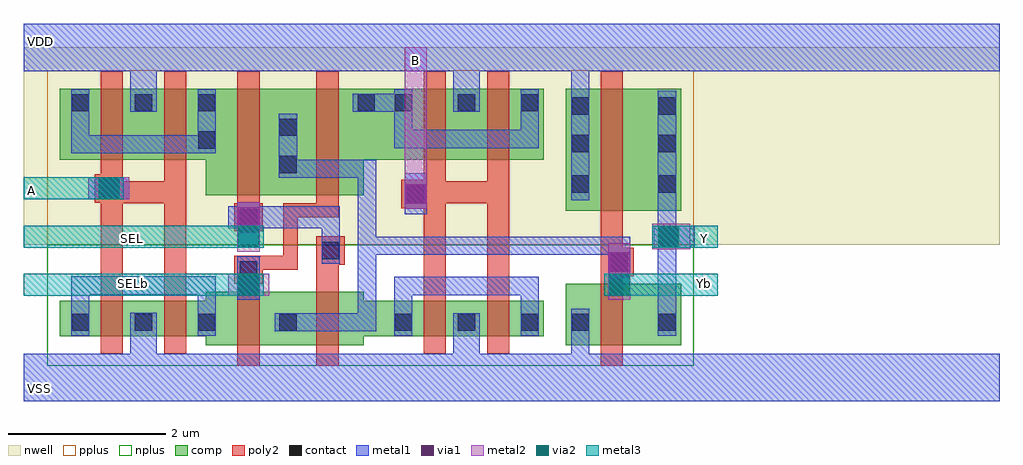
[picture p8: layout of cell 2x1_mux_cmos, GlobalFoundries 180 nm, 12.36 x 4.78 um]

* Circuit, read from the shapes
.subckt 2x1_mux_cmos A B SEL SELb VDD VSS Y Yb
XM1 VSS A n1 VSUBS nfet_03v3 w=0.45u l=0.28u m=2
XM2 Yb SELb n1 VSUBS nfet_03v3 w=0.675u l=0.28u
XM3 n2 SEL Yb VSUBS nfet_03v3 w=0.675u l=0.28u
XM4 VSS B n2 VSUBS nfet_03v3 w=0.45u l=0.28u m=2
XM5 Y Yb VSS VSUBS nfet_03v3 w=0.775u l=0.28u
XM6 VDD A n3 n4 pfet_03v3 w=0.9u l=0.28u m=2
XM7 Yb SEL n3 n4 pfet_03v3 w=1.35u l=0.28u
XM8 n5 SELb Yb n4 pfet_03v3 w=1.35u l=0.28u
XM9 VDD B n5 n4 pfet_03v3 w=0.9u l=0.28u m=2
XM10 Y Yb VDD n4 pfet_03v3 w=1.55u l=0.28u
.ends

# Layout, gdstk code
import gdstk
lib = gdstk.Library(unit=1e-6, precision=5e-09)
def R(c, l, rs):  # rectangles x0, y0, x1, y1
    for r in rs: c.add(gdstk.rectangle(r[:2], r[2:], *l))
def A(c, l, x, y, w, h, nx, ny, dx, dy):  # array of equal rectangles
    R(c, l, [(x+i*dx, y+j*dy, x+i*dx+w, y+j*dy+h) for i in range(nx) for j in range(ny)])
nwell = (21, 0)
comp = (22, 0)
poly2 = (30, 0)
pplus = (31, 0)
nplus = (32, 0)
contact = (33, 0)
metal1 = (34, 0)
via1 = (35, 0)
metal2 = (36, 0)
via2 = (38, 0)
metal3 = (42, 0)

c_2x1_mux_cmos = lib.new_cell('2x1_mux_cmos')
R(c_2x1_mux_cmos, nwell, [(0,1.68,12.36,4.18)])
R(c_2x1_mux_cmos, comp, [(2.305,0.41,4.31,1.085), (6.87,0.41,8.33,1.185), (0.46,0.52,6.59,0.97), (6.87,2.11,8.33,3.66), (2.305,2.31,4.31,3.66), (0.46,2.76,6.59,3.66)])
R(c_2x1_mux_cmos, poly2, [(2.71,0.15,2.99,1.185), (3.71,0.15,3.99,1.43), (7.31,0.15,7.59,3.88), (0.98,0.3,1.26,3.88), (1.78,0.3,2.06,3.88), (5.07,0.3,5.35,3.88), (5.87,0.3,6.15,3.88), (2.67,1.185,3.03,1.545), (7.365,1.285,7.725,1.645), (3.03,1.365,3.29,1.545), (3.29,1.365,3.47,2.21), (3.71,1.43,4.07,1.79), (2.67,1.85,3.03,2.21), (3.47,2.03,3.71,2.21), (3.71,2.03,3.99,3.88), (4.785,2.145,5.145,2.505), (1.26,2.205,1.78,2.485), (5.35,2.205,5.87,2.485), (2.71,2.21,2.99,3.88), (0.9,2.215,1.26,2.575)])
R(c_2x1_mux_cmos, pplus, [(0.3,1.68,8.49,3.89)])
R(c_2x1_mux_cmos, nplus, [(0.3,0.15,8.49,1.68)])
A(c_2x1_mux_cmos, contact, 0.61, 0.59, 0.22, 0.22, 3, 2, 0.8, 2.78)
A(c_2x1_mux_cmos, contact, 4.7, 0.59, 0.22, 0.22, 3, 2, 0.8, 2.78)
R(c_2x1_mux_cmos, contact, [(3.24,0.59,3.46,0.81), (6.94,0.59,7.16,0.81), (8.04,0.59,8.26,0.81), (2.74,1.255,2.96,1.475), (7.435,1.355,7.655,1.575), (3.78,1.5,4,1.72), (2.74,1.92,2.96,2.14), (4.855,2.215,5.075,2.435), (0.97,2.285,1.19,2.505), (6.94,2.34,7.16,2.56), (8.04,2.34,8.26,2.56), (3.24,2.59,3.46,2.81), (6.94,2.855,7.16,3.075), (8.04,2.855,8.26,3.075), (2.21,2.9,2.43,3.12), (3.24,3.06,3.46,3.28), (6.94,3.33,7.16,3.55), (8.04,3.33,8.26,3.55), (4.23,3.37,4.45,3.59)])
R(c_2x1_mux_cmos, metal1, [(0,-0.3,12.36,0.3), (1.35,0.3,1.69,0.82), (5.44,0.3,5.78,0.815), (6.935,0.3,7.165,0.87), (0.605,0.53,0.835,1.05), (2.205,0.53,2.435,1.05), (4.695,0.53,4.925,1.045), (6.295,0.53,6.525,1.045), (8.035,0.53,8.265,3.635), (3.18,0.585,4.465,0.815), (4.235,0.815,4.465,2.76), (2.71,0.985,2.99,1.535), (4.695,1.045,6.525,1.275), (0.605,1.05,2.435,1.28), (7.405,1.265,7.685,1.785), (7.43,1.325,7.66,1.555), (3.775,1.44,4.005,1.89), (4.465,1.555,7.405,1.785), (7.98,1.645,8.5,1.925), (2.71,1.84,2.99,2.22), (2.59,1.89,4.005,2.17), (4.825,2.065,5.105,2.585), (6.935,2.245,7.165,3.88), (0.82,2.255,1.34,2.535), (3.235,2.53,3.465,3.34), (3.465,2.53,4.465,2.76), (0.605,2.84,2.435,3.07), (4.695,2.905,6.525,3.135), (0.605,3.07,0.835,3.65), (2.205,3.07,2.435,3.65), (4.695,3.135,4.925,3.65), (6.295,3.135,6.525,3.65), (1.35,3.365,1.69,3.88), (4.17,3.365,4.695,3.595), (5.44,3.365,5.78,3.88), (0,3.88,12.36,4.48)])
R(c_2x1_mux_cmos, via1, [(2.72,1.045,2.98,1.305), (7.415,1.335,7.675,1.595), (8.04,1.655,8.3,1.915), (2.72,1.9,2.98,2.16), (4.835,2.195,5.095,2.455), (0.95,2.265,1.21,2.525)])
R(c_2x1_mux_cmos, metal2, [(7.405,0.985,7.685,1.7), (2.59,1.035,3.11,1.315), (2.71,1.595,2.99,2.22), (7.965,1.625,8.445,1.945), (4.825,2.135,5.105,4.18), (0.82,2.255,1.34,2.535)])
R(c_2x1_mux_cmos, via2, [(2.72,1.045,2.98,1.305), (7.415,1.045,7.675,1.305), (2.72,1.655,2.98,1.915), (8.04,1.655,8.3,1.915), (0.95,2.265,1.21,2.525)])
R(c_2x1_mux_cmos, metal3, [(0,1.035,3.04,1.315), (7.355,1.035,8.79,1.315), (0,1.645,3.04,1.925), (7.965,1.645,8.79,1.925), (0,2.255,1.27,2.535)])
c_2x1_mux_cmos.add(gdstk.Label('A', (0.1,2.37), layer=42, texttype=10))
c_2x1_mux_cmos.add(gdstk.Label('Yb', (8.62,1.19), layer=42, texttype=10))
c_2x1_mux_cmos.add(gdstk.Label('Y', (8.62,1.755), layer=42, texttype=10))
c_2x1_mux_cmos.add(gdstk.Label('SEL', (1.375,1.755), layer=42, texttype=10))
c_2x1_mux_cmos.add(gdstk.Label('SELb', (1.39,1.19), layer=42, texttype=10))
c_2x1_mux_cmos.add(gdstk.Label('VDD', (0.215,4.255), layer=34, texttype=10))
c_2x1_mux_cmos.add(gdstk.Label('VSS', (0.205,-0.145), layer=34, texttype=10))
c_2x1_mux_cmos.add(gdstk.Label('B', (4.965,4.02), layer=36, texttype=10))

lib.write_gds('2x1_mux_cmos.gds')
